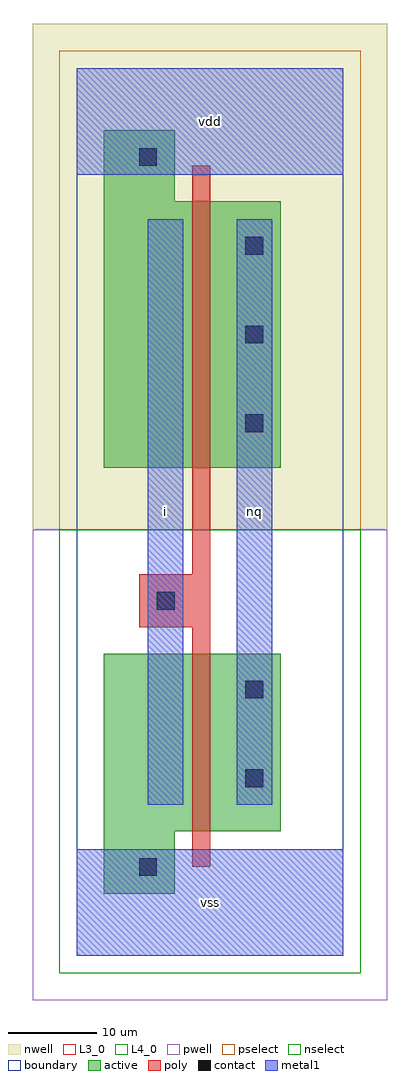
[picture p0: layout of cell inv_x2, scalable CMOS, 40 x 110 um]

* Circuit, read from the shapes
.subckt inv_x2 i nq vdd vss
M1 nq i vss VSUBS nfet w=20u l=2u
M2 nq i vdd n1 pfet w=30u l=2u
.ends

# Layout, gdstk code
import gdstk
lib = gdstk.Library(unit=1e-6, precision=1e-09)
def R(c, l, rs):  # rectangles x0, y0, x1, y1
    for r in rs: c.add(gdstk.rectangle(r[:2], r[2:], *l))
def A(c, l, x, y, w, h, nx, ny, dx, dy):  # array of equal rectangles
    R(c, l, [(x+i*dx, y+j*dy, x+i*dx+w, y+j*dy+h) for i in range(nx) for j in range(ny)])
L3_0 = (3, 0)
L4_0 = (4, 0)
contact = (25, 0)
pwell = (41, 0)
nwell = (42, 0)
active = (43, 0)
pselect = (44, 0)
nselect = (45, 0)
poly = (46, 0)
metal1 = (49, 0)
boundary = (63, 0)

inv_x2 = lib.new_cell('inv_x2')
R(inv_x2, L3_0, [(3,7,11,14), (3,14,23,34)])
R(inv_x2, L4_0, [(3,55,23,85), (3,85,11,93)])
A(inv_x2, contact, 19, 59, 2, 2, 1, 3, 0, 10)
R(inv_x2, contact, [(7,9,9,11), (19,19,21,21), (19,29,21,31), (9,39,11,41), (7,89,9,91)])
R(inv_x2, pwell, [(-5,-5,35,48)])
R(inv_x2, nwell, [(-5,48,35,105)])
R(inv_x2, active, [(3,7,11,14), (3,14,23,34), (3,55,23,85), (3,85,11,93)])
R(inv_x2, pselect, [(-2,48,32,102)])
R(inv_x2, nselect, [(-2,-2,32,48)])
R(inv_x2, poly, [(13,10,15,37), (7,37,15,43), (13,43,15,89)])
R(inv_x2, metal1, [(0,0,30,12), (8,17,12,83), (18,17,22,83), (0,88,30,100)])
R(inv_x2, boundary, [(0,0,30,100)])
inv_x2.add(gdstk.Label('vss', (15,6), layer=49, texttype=0))
inv_x2.add(gdstk.Label('i', (10,50), layer=49, texttype=0))
inv_x2.add(gdstk.Label('vdd', (15,94), layer=49, texttype=0))
inv_x2.add(gdstk.Label('nq', (20,50), layer=49, texttype=0))

lib.write_gds('inv_x2.gds')
